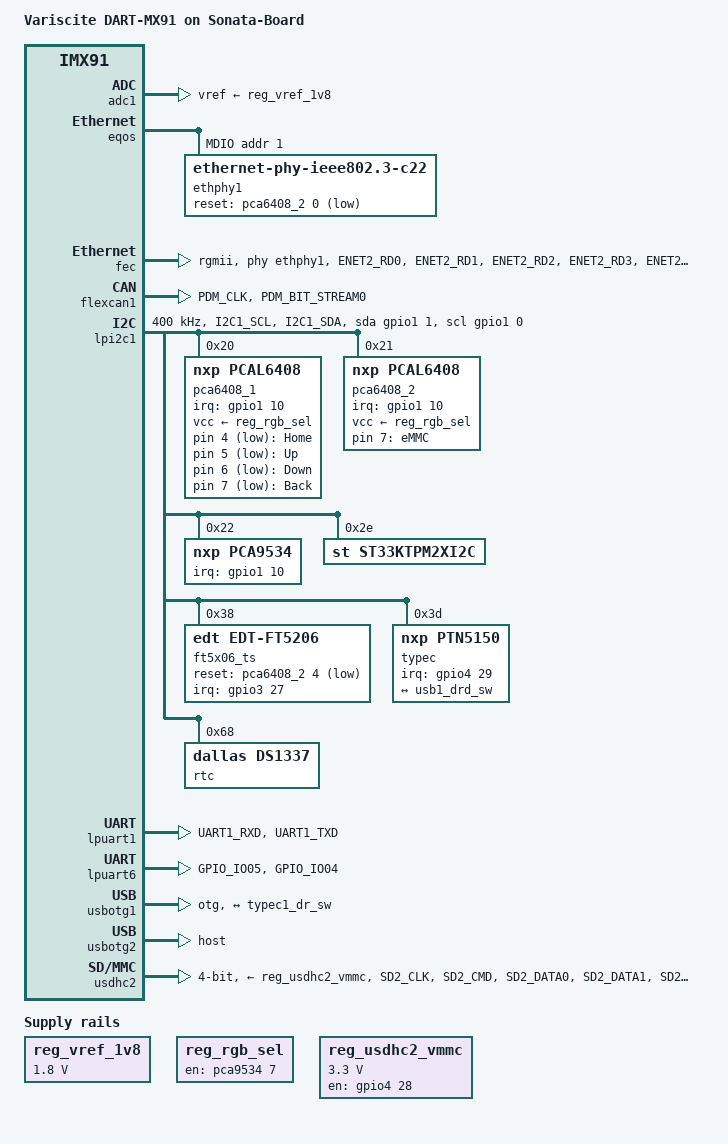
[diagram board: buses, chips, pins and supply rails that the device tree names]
// SPDX-License-Identifier: (GPL-2.0+ OR MIT)
/*
 * Variscite Sonata carrier board for DART-MX91
 *
 * Link: https://variscite.com/carrier-boards/sonata-board/
 *
 * Copyright (C) 2025 Variscite Ltd. - https://www.variscite.com/
 *
 */

/dts-v1/;

#include "imx91-var-dart.dtsi"

/ {
	model = "Variscite DART-MX91 on Sonata-Board";
	compatible = "variscite,var-dart-mx91-sonata",
		     "variscite,var-dart-mx91",
		     "fsl,imx91";

	aliases {
		ethernet0 = &eqos;
		ethernet1 = &fec;
		gpio0 = &gpio1;
		gpio1 = &gpio2;
		gpio2 = &gpio3;
		i2c0 = &lpi2c1;
		i2c1 = &lpi2c2;
		i2c2 = &lpi2c3;
		mmc0 = &usdhc1;
		mmc1 = &usdhc2;
		serial0 = &lpuart1;
		serial1 = &lpuart2;
		serial2 = &lpuart3;
		serial3 = &lpuart4;
		serial4 = &lpuart5;
		serial5 = &lpuart6;
	};

	chosen {
		stdout-path = &lpuart1;
	};

	gpio-keys {
		compatible = "gpio-keys";

		button-home {
			label = "Home";
			linux,code = <KEY_HOME>;
			gpios = <&pca6408_1 4 GPIO_ACTIVE_LOW>;
			wakeup-source;
		};

		button-up {
			label = "Up";
			linux,code = <KEY_UP>;
			gpios = <&pca6408_1 5 GPIO_ACTIVE_LOW>;
			wakeup-source;
		};

		button-down {
			label = "Down";
			linux,code = <KEY_DOWN>;
			gpios = <&pca6408_1 6 GPIO_ACTIVE_LOW>;
			wakeup-source;
		};

		button-back {
			label = "Back";
			linux,code = <KEY_BACK>;
			gpios = <&pca6408_1 7 GPIO_ACTIVE_LOW>;
			wakeup-source;
		};
	};

	gpio-leds {
		compatible = "gpio-leds";

		led-emmc {
			label = "eMMC";
			gpios = <&pca6408_2 7 GPIO_ACTIVE_HIGH>;
			linux,default-trigger = "mmc0";
		};
	};

	reg_vref_1v8: regulator-adc-vref {
		compatible = "regulator-fixed";
		regulator-name = "vref_1v8";
		regulator-min-microvolt = <1800000>;
		regulator-max-microvolt = <1800000>;
	};

	reg_rgb_sel: regulator-rgb-enable {
		compatible = "regulator-fixed";
		regulator-name = "RGBSEL";
		gpio = <&pca9534 7 GPIO_ACTIVE_HIGH>;
		enable-active-high;
	};

	reg_usdhc2_vmmc: regulator-vmmc-usdhc2 {
		compatible = "regulator-fixed";
		pinctrl-names = "default";
		pinctrl-0 = <&pinctrl_reg_usdhc2_vmmc>;
		regulator-name = "VDD_SD2_3V3";
		regulator-min-microvolt = <3300000>;
		regulator-max-microvolt = <3300000>;
		gpio = <&gpio4 28 GPIO_ACTIVE_HIGH>;
		enable-active-high;
		off-on-delay-us = <20000>;
	};

	reserved-memory {
		ranges;
		#address-cells = <2>;
		#size-cells = <2>;

		linux,cma {
			compatible = "shared-dma-pool";
			alloc-ranges = <0 0x80000000 0 0x40000000>;
			reusable;
			size = <0 0x10000000>;
			linux,cma-default;
		};
	};
};

&adc1 {
	vref-supply = <&reg_vref_1v8>;
	status = "okay";
};

/* Use external instead of internal RTC */
&bbnsm_rtc {
	status = "disabled";
};

&eqos {
	mdio {
		ethphy1: ethernet-phy@1 {
			compatible = "ethernet-phy-ieee802.3-c22";
			reg = <1>;
			reset-gpios = <&pca6408_2 0 GPIO_ACTIVE_LOW>;
			reset-assert-us = <15000>;
			reset-deassert-us = <100000>;

			leds {
				#address-cells = <1>;
				#size-cells = <0>;

				led@0 {
					reg = <0>;
					color = <LED_COLOR_ID_YELLOW>;
					function = LED_FUNCTION_LAN;
					linux,default-trigger = "netdev";
				};

				led@1 {
					reg = <1>;
					color = <LED_COLOR_ID_GREEN>;
					function = LED_FUNCTION_LAN;
					linux,default-trigger = "netdev";
				};
			};
		};
	};
};

&fec {
	pinctrl-names = "default", "sleep";
	pinctrl-0 = <&pinctrl_fec>;
	pinctrl-1 = <&pinctrl_fec_sleep>;
	/*
	 * The required RGMII TX and RX 2ns delays are implemented directly
	 * in hardware via passive delay elements on the SOM PCB.
	 * No delay configuration is needed in software via PHY driver.
	 */
	phy-mode = "rgmii";
	phy-handle = <&ethphy1>;
	status = "okay";
};

&flexcan1 {
	pinctrl-names = "default";
	pinctrl-0 = <&pinctrl_flexcan1>;
	status = "okay";
};

&lpi2c1 {
	clock-frequency = <400000>;
	pinctrl-names = "default", "sleep", "gpio";
	pinctrl-0 = <&pinctrl_lpi2c1>;
	pinctrl-1 = <&pinctrl_lpi2c1_gpio>;
	pinctrl-2 = <&pinctrl_lpi2c1_gpio>;
	scl-gpios = <&gpio1 0 (GPIO_ACTIVE_HIGH | GPIO_OPEN_DRAIN)>;
	sda-gpios = <&gpio1 1 (GPIO_ACTIVE_HIGH | GPIO_OPEN_DRAIN)>;
	status = "okay";

	pca6408_1: gpio@20 {
		compatible = "nxp,pcal6408";
		reg = <0x20>;
		gpio-controller;
		#gpio-cells = <2>;
		interrupt-parent = <&gpio1>;
		interrupts = <10 IRQ_TYPE_LEVEL_LOW>;
		vcc-supply = <&reg_rgb_sel>;
	};

	pca6408_2: gpio@21 {
		compatible = "nxp,pcal6408";
		reg = <0x21>;
		gpio-controller;
		#gpio-cells = <2>;
		interrupt-parent = <&gpio1>;
		interrupts = <10 IRQ_TYPE_LEVEL_LOW>;
		vcc-supply = <&reg_rgb_sel>;
	};

	pca9534: gpio@22 {
		compatible = "nxp,pca9534";
		reg = <0x22>;
		gpio-controller;
		#gpio-cells = <2>;
		interrupt-parent = <&gpio1>;
		interrupts = <10 IRQ_TYPE_LEVEL_LOW>;
	};

	st33ktpm2xi2c: tpm@2e {
		compatible = "st,st33ktpm2xi2c", "tcg,tpm-tis-i2c";
		reg = <0x2e>;
	};

	/* Capacitive touch controller */
	ft5x06_ts: touchscreen@38 {
		compatible = "edt,edt-ft5206";
		reg = <0x38>;
		pinctrl-names = "default";
		pinctrl-0 = <&pinctrl_captouch>;
		reset-gpios = <&pca6408_2 4 GPIO_ACTIVE_LOW>;
		interrupt-parent = <&gpio3>;
		interrupts = <27 IRQ_TYPE_EDGE_FALLING>;
		touchscreen-size-x = <800>;
		touchscreen-size-y = <480>;
		touchscreen-inverted-x;
		touchscreen-inverted-y;
		wakeup-source;
	};

	/* USB Type-C Controller */
	typec@3d {
		compatible = "nxp,ptn5150";
		reg = <0x3d>;
		pinctrl-names = "default";
		pinctrl-0 = <&pinctrl_extcon>;
		interrupt-parent = <&gpio4>;
		interrupts = <29 IRQ_TYPE_LEVEL_HIGH>;

		port {
			typec1_dr_sw: endpoint {
				remote-endpoint = <&usb1_drd_sw>;
			};
		};
	};

	rtc@68 {
		compatible = "dallas,ds1337";
		reg = <0x68>;
	};
};

/* Console (J10) */
&lpuart1 {
	pinctrl-names = "default";
	pinctrl-0 = <&pinctrl_uart1>;
	status = "okay";
};

/* Header (J12.4, J12.6) */
&lpuart6 {
	pinctrl-names = "default";
	pinctrl-0 = <&pinctrl_uart6>;
	status = "okay";
};

&usbotg1 {
	dr_mode = "otg";
	hnp-disable;
	srp-disable;
	adp-disable;
	usb-role-switch;
	disable-over-current;
	samsung,picophy-pre-emp-curr-control = <3>;
	samsung,picophy-dc-vol-level-adjust = <7>;
	status = "okay";

	port {
		usb1_drd_sw: endpoint {
			remote-endpoint = <&typec1_dr_sw>;
		};
	};
};

&usbotg2 {
	disable-over-current;
	dr_mode = "host";
	status = "okay";
};

/* SD */
&usdhc2 {
	pinctrl-names = "default", "state_100mhz", "state_200mhz", "sleep";
	pinctrl-0 = <&pinctrl_usdhc2>, <&pinctrl_usdhc2_gpio>;
	pinctrl-1 = <&pinctrl_usdhc2_100mhz>, <&pinctrl_usdhc2_gpio>;
	pinctrl-2 = <&pinctrl_usdhc2_200mhz>, <&pinctrl_usdhc2_gpio>;
	pinctrl-3 = <&pinctrl_usdhc2_sleep>, <&pinctrl_usdhc2_gpio_sleep>;
	cd-gpios = <&gpio3 0 GPIO_ACTIVE_LOW>;
	vmmc-supply = <&reg_usdhc2_vmmc>;
	bus-width = <4>;
	no-sdio;
	no-mmc;
	status = "okay";
};

&iomuxc {
	pinctrl-names = "default";
	pinctrl-0 = <&pinctrl_hog>;

	pinctrl_hog: hoggrp {
		fsl,pins = <
			/* GPIO Expanders shared IRQ */
			MX91_PAD_PDM_BIT_STREAM1__GPIO1_IO10            0x31e
		>;
	};

	pinctrl_captouch: captouchgrp {
		fsl,pins = <
			MX91_PAD_CCM_CLKO2__GPIO3_IO27			0x31e
		>;
	};

	pinctrl_extcon: extcongrp {
		fsl,pins = <
			MX91_PAD_CCM_CLKO4__GPIO4_IO29			0x31e
		>;
	};

	pinctrl_fec: fecgrp {
		fsl,pins = <
			MX91_PAD_ENET2_RD0__ENET2_RGMII_RD0             0x57e
			MX91_PAD_ENET2_RD1__ENET2_RGMII_RD1             0x57e
			MX91_PAD_ENET2_RD2__ENET2_RGMII_RD2             0x57e
			MX91_PAD_ENET2_RD3__ENET2_RGMII_RD3             0x37e
			MX91_PAD_ENET2_RXC__ENET2_RGMII_RXC             0x5fe
			MX91_PAD_ENET2_RX_CTL__ENET2_RGMII_RX_CTL       0x57e
			MX91_PAD_ENET2_TD0__ENET2_RGMII_TD0             0x57e
			MX91_PAD_ENET2_TD1__ENET2_RGMII_TD1             0x57e
			MX91_PAD_ENET2_TD2__ENET2_RGMII_TD2             0x57e
			MX91_PAD_ENET2_TD3__ENET2_RGMII_TD3             0x57e
			MX91_PAD_ENET2_TXC__ENET2_RGMII_TXC             0x5fe
			MX91_PAD_ENET2_TX_CTL__ENET2_RGMII_TX_CTL       0x57e
		>;
	};

	pinctrl_fec_sleep: fecsleepgrp {
		fsl,pins = <
			MX91_PAD_ENET2_RD0__GPIO4_IO24                  0x51e
			MX91_PAD_ENET2_RD1__GPIO4_IO25                  0x51e
			MX91_PAD_ENET2_RD2__GPIO4_IO26                  0x51e
			MX91_PAD_ENET2_RD3__GPIO4_IO27                  0x31e
			MX91_PAD_ENET2_RXC__GPIO4_IO23                  0x51e
			MX91_PAD_ENET2_RX_CTL__GPIO4_IO22               0x51e
			MX91_PAD_ENET2_TD0__GPIO4_IO19                  0x51e
			MX91_PAD_ENET2_TD1__GPIO4_IO18                  0x51e
			MX91_PAD_ENET2_TD2__GPIO4_IO17                  0x51e
			MX91_PAD_ENET2_TD3__GPIO4_IO16                  0x51e
			MX91_PAD_ENET2_TXC__GPIO4_IO21                  0x51e
			MX91_PAD_ENET2_TX_CTL__GPIO4_IO20               0x51e
		>;
	};

	pinctrl_flexcan1: flexcan1grp {
		fsl,pins = <
			MX91_PAD_PDM_CLK__CAN1_TX			0x139e
			MX91_PAD_PDM_BIT_STREAM0__CAN1_RX		0x139e
		>;
	};

	pinctrl_lpi2c1: lpi2c1grp {
		fsl,pins = <
			MX91_PAD_I2C1_SCL__LPI2C1_SCL			0x40000b9e
			MX91_PAD_I2C1_SDA__LPI2C1_SDA			0x40000b9e
		>;
	};

	pinctrl_lpi2c1_gpio: lpi2c1-gpiogrp {
		fsl,pins = <
			MX91_PAD_I2C1_SCL__GPIO1_IO0			0x31e
			MX91_PAD_I2C1_SDA__GPIO1_IO1			0x31e
		>;
	};

	pinctrl_reg_usdhc2_vmmc: regusdhc2vmmcgrp {
		fsl,pins = <
			MX91_PAD_CCM_CLKO3__GPIO4_IO28			0x31e
		>;
	};

	pinctrl_uart1: uart1grp {
		fsl,pins = <
			MX91_PAD_UART1_RXD__LPUART1_RX			0x31e
			MX91_PAD_UART1_TXD__LPUART1_TX			0x31e
		>;
	};

	pinctrl_uart6: uart6grp {
		fsl,pins = <
			MX91_PAD_GPIO_IO05__LPUART6_RX			0x31e
			MX91_PAD_GPIO_IO04__LPUART6_TX			0x31e
		>;
	};

	pinctrl_usdhc2: usdhc2grp {
		fsl,pins = <
			MX91_PAD_SD2_CLK__USDHC2_CLK			0x1582
			MX91_PAD_SD2_CMD__USDHC2_CMD			0x1382
			MX91_PAD_SD2_DATA0__USDHC2_DATA0		0x1382
			MX91_PAD_SD2_DATA1__USDHC2_DATA1		0x1382
			MX91_PAD_SD2_DATA2__USDHC2_DATA2		0x1382
			MX91_PAD_SD2_DATA3__USDHC2_DATA3		0x1382
			MX91_PAD_SD2_VSELECT__USDHC2_VSELECT		0x51e
		>;
	};

	pinctrl_usdhc2_100mhz: usdhc2-100mhzgrp {
		fsl,pins = <
			MX91_PAD_SD2_CLK__USDHC2_CLK			0x158e
			MX91_PAD_SD2_CMD__USDHC2_CMD			0x138e
			MX91_PAD_SD2_DATA0__USDHC2_DATA0		0x138e
			MX91_PAD_SD2_DATA1__USDHC2_DATA1		0x138e
			MX91_PAD_SD2_DATA2__USDHC2_DATA2		0x138e
			MX91_PAD_SD2_DATA3__USDHC2_DATA3		0x138e
			MX91_PAD_SD2_VSELECT__USDHC2_VSELECT		0x51e
		>;
	};

	pinctrl_usdhc2_200mhz: usdhc2-200mhzgrp {
		fsl,pins = <
			MX91_PAD_SD2_CLK__USDHC2_CLK			0x15fe
			MX91_PAD_SD2_CMD__USDHC2_CMD			0x13fe
			MX91_PAD_SD2_DATA0__USDHC2_DATA0		0x13fe
			MX91_PAD_SD2_DATA1__USDHC2_DATA1		0x13fe
			MX91_PAD_SD2_DATA2__USDHC2_DATA2		0x13fe
			MX91_PAD_SD2_DATA3__USDHC2_DATA3		0x13fe
			MX91_PAD_SD2_VSELECT__USDHC2_VSELECT		0x51e
		>;
	};

	pinctrl_usdhc2_sleep: usdhc2sleepgrp {
		fsl,pins = <
			MX91_PAD_SD2_CLK__GPIO3_IO1			0x51e
			MX91_PAD_SD2_CMD__GPIO3_IO2			0x51e
			MX91_PAD_SD2_DATA0__GPIO3_IO3			0x51e
			MX91_PAD_SD2_DATA1__GPIO3_IO4			0x51e
			MX91_PAD_SD2_DATA2__GPIO3_IO5			0x51e
			MX91_PAD_SD2_DATA3__GPIO3_IO6			0x51e
			MX91_PAD_SD2_VSELECT__GPIO3_IO19		0x51e
		>;
	};

	pinctrl_usdhc2_gpio: usdhc2gpiogrp {
		fsl,pins = <
			MX91_PAD_SD2_CD_B__GPIO3_IO0			0x31e
		>;
	};

	pinctrl_usdhc2_gpio_sleep: usdhc2gpiosleepgrp {
		fsl,pins = <
			MX91_PAD_SD2_CD_B__GPIO3_IO0			0x51e
		>;
	};
};
